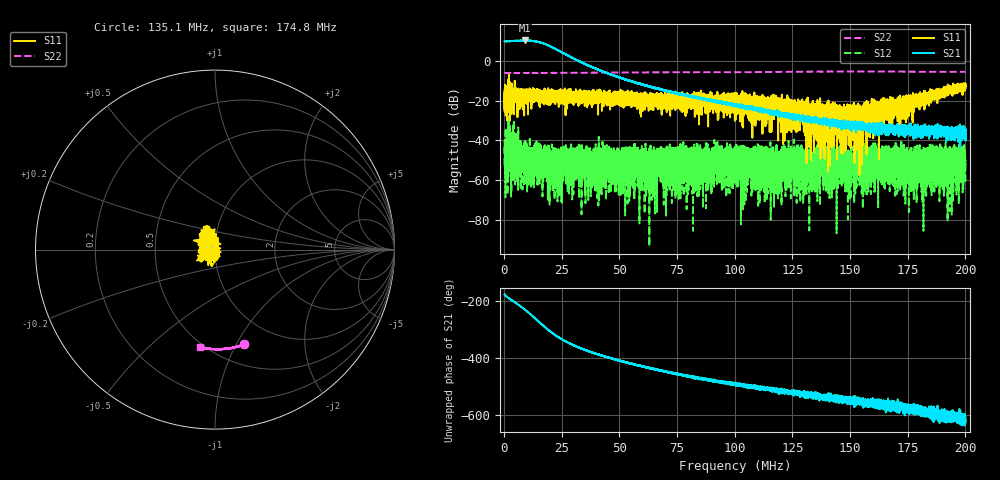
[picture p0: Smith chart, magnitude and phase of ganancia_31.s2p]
# Hz S DB R 50
! CMT, M5065, 19127446, 24.2.4/2
! Date: 11/8/2024 4:03:02 PM
! Data: Format (Calibration Info)
! Freq	S11:dB/Ang(F2)	S21:dB/Ang(F2)	S12:dB/Ang(F2)	S22:dB/Ang(F2)
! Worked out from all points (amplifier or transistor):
!   9000 points, 300 kHz to 200 MHz, reference 50 ohm
!   highest |S21| = 10.6 dB at 9.265 MHz (marker M1)
!   |S21| within 3 dB of that: start of sweep to 20.12 MHz
!   unconditionally stable (mu >= 1): start of sweep to end of sweep
!   at 33.59 MHz: K = 139.10, MAG = 0.9 dB, |S12| = -51.2 dB
!   at 100.2 MHz: K = 2665.77, MAG = -20.8 dB, |S12| = -55.3 dB
!   at 200 MHz: K = 13607.58, MAG = -38.1 dB, |S12| = -52.4 dB
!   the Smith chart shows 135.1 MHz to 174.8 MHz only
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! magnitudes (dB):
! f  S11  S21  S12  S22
! 300 kHz  -14.4  10.2  -43.2  -5.8
! 1.631 MHz  -16.4  10.2  -49.8  -5.8
! 9.265 MHz  -17.2  10.6  -40.2  -5.9
! 19.43 MHz  -20.0  8.0  -54.8  -5.8
! 33.59 MHz  -18.5  -0.5  -51.2  -5.7
! 54.54 MHz  -20.8  -9.9  -43.2  -5.6
! 66.87 MHz  -21.1  -13.9  -49.7  -5.5
! 69.67 MHz  -21.4  -14.9  -43.4  -5.5
! 77.77 MHz  -17.8  -16.8  -45.6  -5.5
! 100.2 MHz  -22.0  -22.3  -55.3  -5.4
! 118.5 MHz  -27.3  -26.2  -50.3  -5.3
! 129.4 MHz  -29.4  -29.0  -50.0  -5.2
! 133.4 MHz  -31.4  -30.3  -53.9  -5.2
! 141.9 MHz  -29.3  -31.1  -48.5  -5.1
! 144 MHz  -24.2  -31.1  -45.6  -5.1
! 149 MHz  -27.8  -31.6  -53.9  -5.1
! 151.5 MHz  -22.2  -33.2  -47.1  -5.1
! 154.7 MHz  -27.4  -30.4  -48.8  -5.1
! 156.7 MHz  -25.5  -33.2  -61.6  -5.1
! 166.7 MHz  -24.2  -34.3  -46.7  -5.1
! 196.7 MHz  -14.2  -35.0  -50.9  -5.3
! 200 MHz  -12.3  -39.9  -52.4  -5.3
